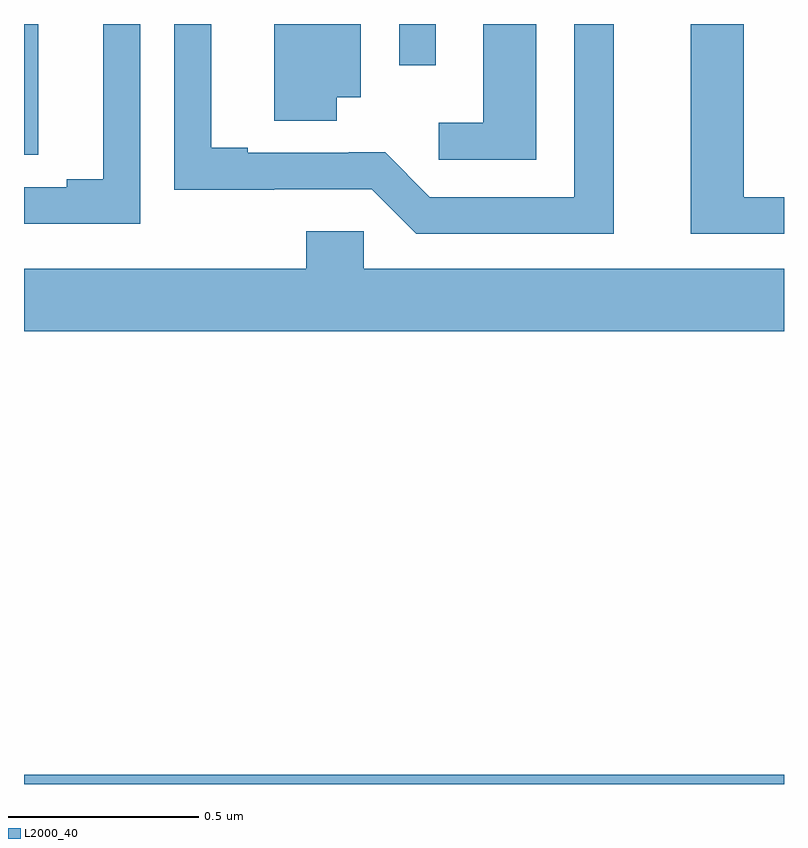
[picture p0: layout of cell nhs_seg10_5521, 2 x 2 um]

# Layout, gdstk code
import gdstk
lib = gdstk.Library(unit=1e-6, precision=1e-09)
def R(c, l, rs):  # rectangles x0, y0, x1, y1
    for r in rs: c.add(gdstk.rectangle(r[:2], r[2:], *l))
def P(c, l, *ps):  # polygons
    for p in ps: c.add(gdstk.Polygon(p, *l))
L2000_40 = (2000, 40)

nhs_seg10_5521 = lib.new_cell('nhs_seg10_5521')
R(nhs_seg10_5521, L2000_40, [(180,1256.5,182,1256.524), (180,1258.156,180.037,1258.5), (180.987,1258.392,181.083,1258.5)])
P(nhs_seg10_5521, L2000_40, [(180.306,1258.5),(180.209,1258.5),(180.209,1258.091),(180.113,1258.091),(180.113,1258.071),(180,1258.071),(180,1257.975),(180.306,1257.975)],
  [(181.348,1258.5),(181.208,1258.5),(181.208,1258.24),(181.092,1258.24),(181.092,1258.143),(181.348,1258.143)],
  [(180.823,1258.307),(180.886,1258.307),(180.886,1258.5),(180.659,1258.5),(180.659,1258.246),(180.823,1258.246)],
  [(182,1258.044),(181.894,1258.044),(181.894,1258.5),(181.754,1258.5),(181.754,1257.948),(182,1257.948)],
  [(181.552,1258.5),(181.448,1258.5),(181.448,1258.044),(181.068,1258.044),(180.95,1258.162),(180.854,1258.162),(180.854,1258.161),(180.589,1258.161),(180.589,1258.174),(180.493,1258.174),(180.493,1258.5),(180.396,1258.5),(180.396,1258.064),(180.659,1258.064),(180.659,1258.065),(180.915,1258.065),(181.032,1257.948),(181.552,1257.948)],
  [(182,1257.856),(180.894,1257.856),(180.894,1257.954),(180.743,1257.954),(180.743,1257.856),(180,1257.856),(180,1257.692),(182,1257.692)])

lib.write_gds('nhs_seg10_5521.gds')
